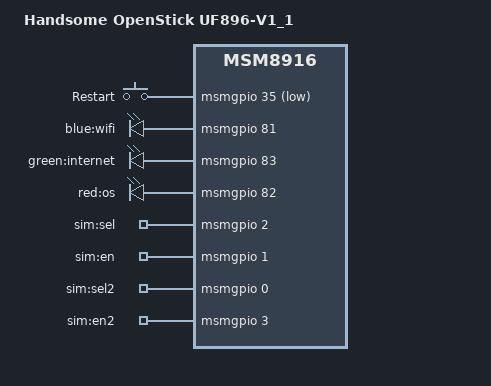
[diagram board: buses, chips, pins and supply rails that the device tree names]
// SPDX-License-Identifier: GPL-2.0-only
/*
 * Copyright (C) 2021-2022 HandsomeYingyan <handsomeyingyan@gmail.com>
 *
 */
 
/dts-v1/;
#include "msm8916-handsome-openstick-common.dtsi"

/ {
	model = "Handsome OpenStick UF896-V1_1";
	compatible = "handsome,openstick", "qcom,msm8916";

	gpio-keys {
		compatible = "gpio-keys";
		#address-cells = <1>;
		#size-cells = <0>;
		autorepeat;

		pinctrl-names = "default";
		pinctrl-0 = <&gpio_keys_default>;
		label = "GPIO Buttons";

		reset {
			label = "Restart";
			gpios = <&msmgpio 35 GPIO_ACTIVE_LOW>;
			linux,code = <KEY_RESTART>;
		};
	};

	leds {
		pinctrl-names = "default";
		pinctrl-0 = <&msmgpio_leds>;

		compatible = "gpio-leds";

		wifi {
			label = "blue:wifi";
			gpios = <&msmgpio 81 GPIO_ACTIVE_HIGH>;
			linux,default-trigger = "phy0tx";
			default-state = "off";
		};

		led_internet: internet {
			label = "green:internet";
			gpios = <&msmgpio 83 GPIO_ACTIVE_HIGH>;
			default-state = "off";
		};

		os {
			label = "red:os";
			gpios = <&msmgpio 82 GPIO_ACTIVE_HIGH>;
			linux,default-trigger = "heartbeat";
			default-state = "on";
		};

		sim_sel {
			label = "sim:sel";
			gpios = <&msmgpio 2 GPIO_ACTIVE_HIGH>;
			default-state = "on";
		};

		sim_en {
			label = "sim:en";
			gpios = <&msmgpio 1 GPIO_ACTIVE_HIGH>;
			default-state = "off";
		};

		sim_sel2 {
			label = "sim:sel2";
			gpios = <&msmgpio 0 GPIO_ACTIVE_HIGH>;
			default-state = "off";
		};

		sim_en2 {
			label = "sim:en2";
			gpios = <&msmgpio 3 GPIO_ACTIVE_HIGH>;
			default-state = "off";
		};


	};
};

&msmgpio {
	msmgpio_leds: msmgpio-leds {
		pins = "gpio0","gpio1","gpio2","gpio3","gpio20","gpio21","gpio22","gpio81","gpio82","gpio83";
		function = "gpio";

		bias-disabled;
	};

	gpio_keys_default: gpio_keys_default {
		pins = "gpio35";
		function = "gpio";

		drive-strength = <8>;
		input-enable;
		bias-pull-up;
	};
};
